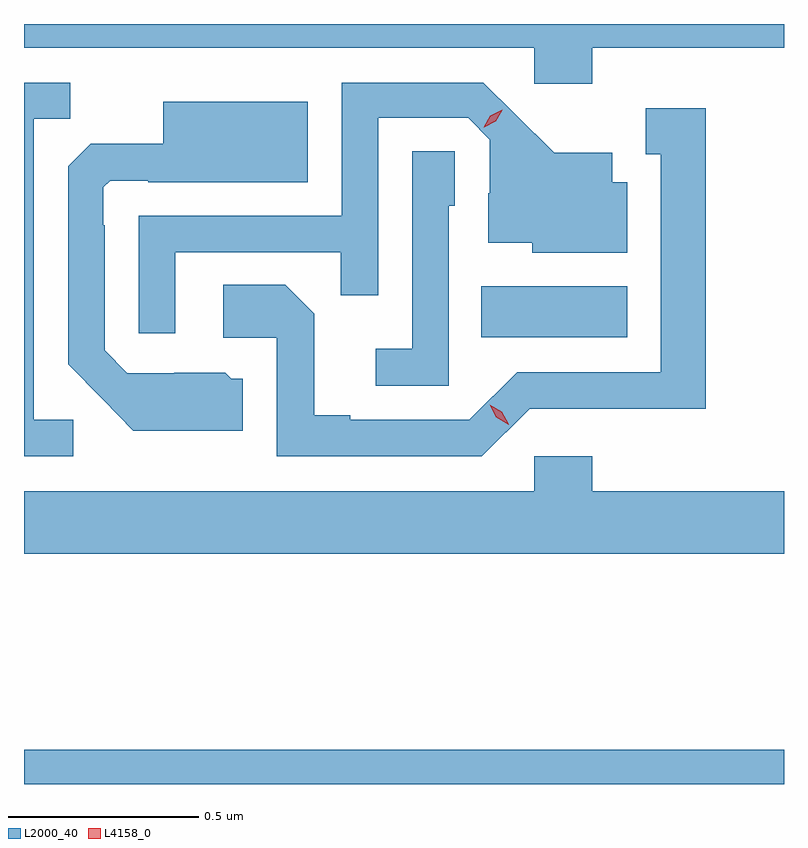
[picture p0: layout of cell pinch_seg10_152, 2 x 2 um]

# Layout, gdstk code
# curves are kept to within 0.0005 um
import gdstk
lib = gdstk.Library(unit=1e-6, precision=1e-09)
def R(c, l, rs):  # rectangles x0, y0, x1, y1
    for r in rs: c.add(gdstk.rectangle(r[:2], r[2:], *l))
def P(c, l, *ps):  # polygons
    for p in ps: c.add(gdstk.Polygon(p, *l))
L2000_40 = (2000, 40)
L4158_0 = (4158, 0)

pinch_seg10_152 = lib.new_cell('pinch_seg10_152')
R(pinch_seg10_152, L2000_40, [(725.575,1282.394,727.575,1282.484), (726.778,1283.57,727.162,1283.704)])
P(pinch_seg10_152, L2000_40, [(727.07,1284.332),(727.575,1284.332),(727.575,1284.394),(725.575,1284.394),(725.575,1284.332),(726.918,1284.332),(726.918,1284.237),(727.07,1284.237)],
  [(725.973,1283.793),(726.409,1283.793),(726.409,1283.68),(726.507,1283.68),(726.507,1284.147),(726.744,1284.147),(726.801,1284.09),(726.801,1283.948),(726.797,1283.948),(726.797,1283.819),(726.912,1283.819),(726.912,1283.792),(727.162,1283.792),(727.162,1283.977),(727.123,1283.977),(727.123,1284.055),(726.971,1284.055),(726.784,1284.24),(726.411,1284.24),(726.411,1283.889),(725.877,1283.889),(725.877,1283.58),(725.973,1283.58)],
  [(725.704,1283.352),(725.601,1283.352),(725.601,1284.145),(725.697,1284.145),(725.697,1284.24),(725.575,1284.24),(725.575,1283.256),(725.704,1283.256)],
  [(726.151,1283.46),(726.12,1283.46),(726.104,1283.476),(725.97,1283.476),(725.97,1283.475),(725.847,1283.475),(725.787,1283.535),(725.787,1283.864),(725.784,1283.864),(725.784,1283.964),(725.802,1283.982),(725.902,1283.982),(725.902,1283.978),(726.322,1283.978),(726.322,1284.19),(725.942,1284.19),(725.942,1284.079),(725.75,1284.079),(725.691,1284.02),(725.691,1283.498),(725.863,1283.324),(726.151,1283.324)],
  [(726.906,1283.382),(727.128,1283.382),(727.128,1283.381),(727.369,1283.381),(727.369,1284.172),(727.211,1284.172),(727.211,1284.051),(727.25,1284.051),(727.25,1283.478),(726.873,1283.478),(726.747,1283.352),(726.433,1283.352),(726.433,1283.365),(726.339,1283.365),(726.339,1283.632),(726.263,1283.708),(726.099,1283.708),(726.099,1283.568),(726.24,1283.568),(726.24,1283.256),(726.78,1283.256)],
  [(726.693,1283.916),(726.708,1283.916),(726.708,1284.059),(726.597,1284.059),(726.597,1283.539),(726.501,1283.539),(726.501,1283.442),(726.693,1283.442)],
  [(727.575,1283.164),(727.07,1283.164),(727.07,1283.257),(726.918,1283.257),(726.918,1283.164),(725.575,1283.164),(725.575,1283),(727.575,1283)])
P(pinch_seg10_152, L4158_0, [(726.85,1283.34),(726.818,1283.359),(726.8,1283.392),(726.8,1283.392),(726.8,1283.392),(726.832,1283.373),(726.85,1283.341),(726.85,1283.34)],
  [(726.785,1284.122),(726.785,1284.122),(726.802,1284.152),(726.833,1284.168),(726.833,1284.168),(726.833,1284.167),(726.816,1284.138),(726.786,1284.122)])

lib.write_gds('pinch_seg10_152.gds')
